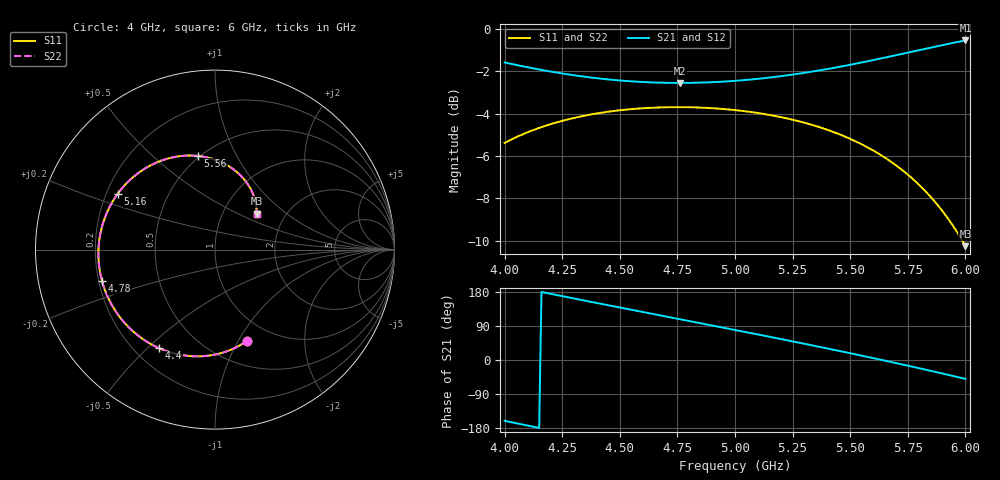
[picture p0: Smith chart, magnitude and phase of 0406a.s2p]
!freq-unit  param-type  data-format  keyword  impedance-ohms
# GHZ  S  RI  R  50
!Freq  ReS11  ImS11  ReS21  ImS21  ReS12  ImS12  ReS22  ImS22
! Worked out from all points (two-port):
!   201 points, 4 GHz to 6 GHz, reference 50 ohm
!   highest |S21| = -0.55 dB at 6 GHz (marker M1); lowest = -2.6 dB at 4.76 GHz (marker M2)
!   |S21| within 3 dB of the highest: start of sweep to end of sweep
!   lowest |S11| = -10.2 dB at 6 GHz (marker M3), VSWR 1.89, Z = 71.9 + j31.9 ohm
!   |S11| at or under -10 dB: 5.987056 GHz to end of sweep
!   |S22| runs from -10.2 to -3.7 dB; largest |S21 - S12| = 0
!   S11 on the Smith chart (normalised r, x): 4 GHz: 0.76, -1.09; 4.4 GHz: 0.30, -0.54; 4.78 GHz: 0.21, -0.13; 5.16 GHz: 0.25, +0.25; 5.56 GHz: 0.49, +0.71; 6 GHz: 1.44, +0.64
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4  0.1781 -0.508  -0.7849 -0.2781  -0.7849 -0.2781  0.1781 -0.508
4.08  0.0908 -0.5571  -0.8043 -0.1335  -0.8043 -0.1335  0.0908 -0.5571
4.16  -0.00667 -0.5863  -0.7997 0.0071  -0.7997 0.0071  -0.00667 -0.5863
4.25  -0.1224 -0.5942  -0.7686 0.1567  -0.7686 0.1567  -0.1224 -0.5942
4.34  -0.2382 -0.5754  -0.7134 0.294  -0.7134 0.294  -0.2382 -0.5754
4.4  -0.3125 -0.5487  -0.6648 0.3774  -0.6648 0.3774  -0.3125 -0.5487
4.53  -0.4568 -0.4553  -0.5321 0.5328  -0.5321 0.5328  -0.4568 -0.4553
4.67  -0.5739 -0.3103  -0.3552 0.6564  -0.3552 0.6564  -0.5739 -0.3103
4.76  -0.6222 -0.1998  -0.2278 0.7096  -0.2278 0.7096  -0.6222 -0.1998
4.78  -0.6298 -0.174  -0.1984 0.7184  -0.1984 0.7184  -0.6298 -0.174
4.89  -0.6497 -0.0279  -0.0317 0.7471  -0.0317 0.7471  -0.6497 -0.0279
5  -0.6322 0.1183  0.1393 0.7407  0.1393 0.7407  -0.6322 0.1183
5.16  -0.5424 0.3106  0.3829 0.6661  0.3829 0.6661  -0.5424 0.3106
5.25  -0.4625 0.3984  0.5101 0.5897  0.5101 0.5897  -0.4625 0.3984
5.34  -0.3662 0.4656  0.6248 0.4887  0.6248 0.4887  -0.3662 0.4656
5.45  -0.2337 0.5143  0.7409 0.3337  0.7409 0.3337  -0.2337 0.5143
5.56  -0.0959 0.522  0.8217 0.1474  0.8217 0.1474  -0.0959 0.522
5.67  0.0335 0.4878  0.8571 -0.0635  0.8571 -0.0635  0.0335 0.4878
5.76  0.123 0.4311  0.8456 -0.2473  0.8456 -0.2473  0.123 0.4311
5.84  0.1834 0.3631  0.8005 -0.4124  0.8005 -0.4124  0.1834 0.3631
5.92  0.221 0.2841  0.7205 -0.5719  0.7205 -0.5719  0.221 0.2841
6  0.2325 0.2011  0.605 -0.7173  0.605 -0.7173  0.2325 0.2011
